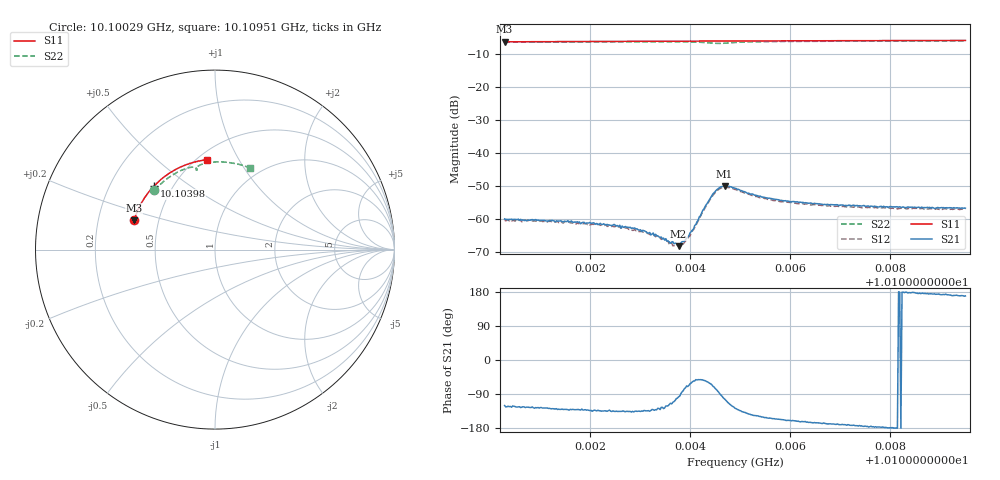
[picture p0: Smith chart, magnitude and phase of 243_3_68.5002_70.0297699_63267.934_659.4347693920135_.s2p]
#  HZ  S  RI  R  50.00
! Rohde & Schwarz Vector Network Analyzer
! Rohde-Schwarz,ZNB20-2Port,1311601062101988,3.16
! Created: UTC 3/20/2024, 4:59:32 PM
! freq[Hz]  re:S11  im:S11  re:S21  im:S21  re:S12  im:S12  re:S22  im:S22
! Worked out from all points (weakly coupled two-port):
!   401 points, 10.10029 GHz to 10.10951 GHz, reference 50 ohm
!   highest |S21| = -49.92 dB at 10.10469 GHz (marker M1); lowest = -68.1 dB at 10.10377 GHz (marker M2)
!   lowest |S11| = -6.4 dB at 10.10029 GHz (marker M3), VSWR 2.84, Z = 18.1 + j7.64 ohm
!   |S11| at or under -10 dB: nowhere
!   |S22| runs from -6.9 to -6.1 dB; largest |S21 - S12| = 0.00031
!   S11 on the Smith chart (normalised r, x): 10.10029 GHz: 0.36, +0.15; 10.10398 GHz: 0.40, +0.37; 10.10951 GHz: 0.56, +0.75
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1.0100295e10  -0.451 0.1628  -0.00051 -0.000875  -0.000438 -0.000862  -0.3374 0.3301
1.0100732e10  -0.4425 0.1882  -0.000537 -0.000785  -0.000466 -0.000839  -0.3181 0.3507
1.0101838e10  -0.4152 0.2498  -0.000562 -0.000686  -0.000534 -0.000678  -0.2637 0.3973
1.0102759e10  -0.386 0.2977  -0.000544 -0.00053  -0.000476 -0.00055  -0.2125 0.4297
1.0103082e10  -0.3746 0.3135  -0.000459 -0.00049  -0.000412 -0.000491  -0.1932 0.4392
1.0103381e10  -0.3633 0.3278  -0.000334 -0.000428  -0.000305 -0.000428  -0.1743 0.4473
1.0103497e10  -0.3589 0.3333  -0.000285 -0.000391  -0.000251 -0.000437  -0.1667 0.4502
1.0103635e10  -0.3534 0.3395  -0.000197 -0.000408  -0.000146 -0.000417  -0.1575 0.4533
1.0103773e10  -0.3478 0.3458  -5e-05 -0.000391  -1.12e-05 -0.000413  -0.1477 0.4561
1.0103842e10  -0.345 0.3489  4.69e-05 -0.000455  7.86e-05 -0.000408  -0.1428 0.4571
1.010398e10  -0.3392 0.355  0.000224 -0.000523  0.000263 -0.000478  -0.1322 0.4585
1.0104119e10  -0.3334 0.361  0.000516 -0.000654  0.000534 -0.000617  -0.1211 0.459
1.010428e10  -0.3264 0.3679  0.000844 -0.00115  0.00091 -0.00103  -0.1086 0.456
1.0104441e10  -0.3192 0.3746  0.000934 -0.0021  0.00105 -0.00192  -0.0999 0.448
1.0104579e10  -0.3131 0.38  0.000229 -0.00295  0.000457 -0.00279  -0.101 0.4419
1.0104694e10  -0.3079 0.3847  -0.000709 -0.00311  -0.000433 -0.00301  -0.105 0.4441
1.0104902e10  -0.2984 0.3928  -0.00178 -0.00234  -0.0015 -0.00239  -0.1021 0.4575
1.0105478e10  -0.2709 0.4142  -0.00189 -0.00104  -0.00175 -0.00116  -0.0644 0.4784
1.0105846e10  -0.2525 0.4268  -0.00177 -0.000738  -0.00163 -0.000857  -0.0393 0.4839
1.0106445e10  -0.2212 0.4453  -0.00167 -0.000436  -0.00156 -0.00056  0.000645 0.4881
1.0107989e10  -0.1354 0.4817  -0.00155 -3.25e-05  -0.00147 -0.00017  0.1002 0.482
1.0109509e10  -0.0455 0.5008  -0.00145 0.000282  -0.00141 0.000141  0.1934 0.4558
